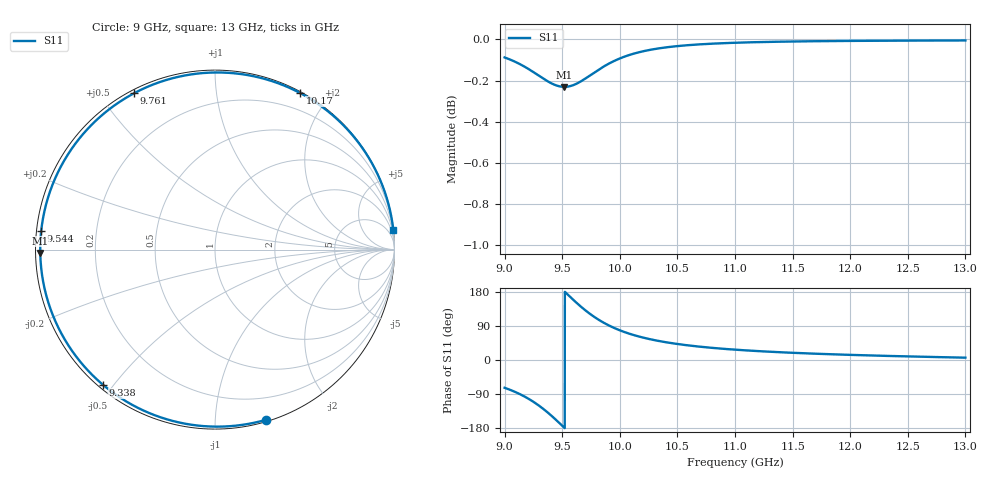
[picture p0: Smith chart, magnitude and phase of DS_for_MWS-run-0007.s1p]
! TOUCHSTONE file generated by CST DESIGN STUDIO
! Date and time: Tue Feb  4 12:20:52 2025
! Project name: C:\Work\MatlabApps\UnitCellOptimizationMatlab\CST\unitcell.cst
! Tree item: Tasks\Sweep1\SPara1\S-Parameters
! Header version: 2024
! Port assignment regex: !\s*Touchstone port\s*([0-9]+)\s*=\s*(CST MWS port|CST DES external port|CST DES block port)\s*(.+)\s* \(\"(.*)\"\)(\s*mode\s*([0-9]+))?.*
! Touchstone port assignment:
! Touchstone port 1 = CST DES external port 1 ("")
# GHz S MA R 50
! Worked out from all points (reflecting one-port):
!   4001 points, 9 GHz to 13 GHz, reference 50 ohm
!   lowest |S11| = -0.2 dB at 9.519 GHz (marker M1), VSWR 75.34, Z = 0.664 - j0.465 ohm
!   phase of S11 starts at -73 deg and turns -281 deg over the sweep
!   S11 on the Smith chart (normalised r, x): 9 GHz: 0.01, -1.34; 9.338 GHz: 0.01, -0.47; 9.544 GHz: 0.01, +0.05; 9.761 GHz: 0.01, +0.61; 10.17 GHz: 0.01, +1.68; 13 GHz: 0, +19
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9  0.99 -73.3
9.092  0.9876 -84.3
9.197  0.984 -100.5
9.271  0.981 -114.6
9.338  0.9782 -129.6
9.382  0.9765 -140.6
9.428  0.9751 -152.9
9.465  0.9743 -163.3
9.5  0.9739 -173.4
9.519  0.9738 -178.9
9.544  0.9739 173.8
9.598  0.9748 158.3
9.658  0.9767 141.9
9.709  0.9787 129.2
9.761  0.9809 117.4
9.811  0.983 107.2
9.866  0.9852 97.4
10  0.9894 78.4
10.083  0.9913 69.4
10.172  0.9929 61.5
10.322  0.9948 51.2
10.5  0.9963 42.3
10.722  0.9974 34.3
11  0.9981 27.3
11.5  0.9988 19.0
12  0.9992 13.5
12.5  0.9993 9.5
13  0.9994 6.2
